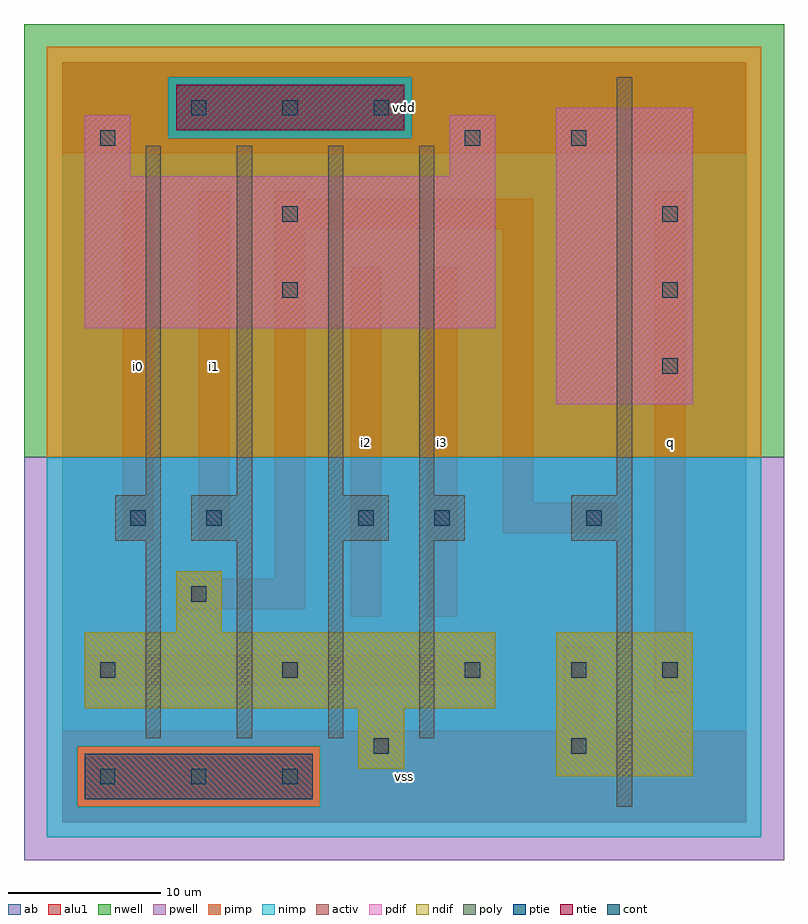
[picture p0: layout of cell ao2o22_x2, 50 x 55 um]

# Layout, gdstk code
import gdstk
lib = gdstk.Library(unit=1e-6, precision=1e-09)
def R(c, l, rs):  # rectangles x0, y0, x1, y1
    for r in rs: c.add(gdstk.rectangle(r[:2], r[2:], *l))
def A(c, l, x, y, w, h, nx, ny, dx, dy):  # array of equal rectangles
    R(c, l, [(x+i*dx, y+j*dy, x+i*dx+w, y+j*dy+h) for i in range(nx) for j in range(ny)])
ndif = (3, 0)
pdif = (4, 0)
ntie = (5, 0)
ptie = (6, 0)
cont = (25, 0)
pwell = (41, 0)
nwell = (42, 0)
activ = (43, 0)
pimp = (44, 0)
nimp = (45, 0)
poly = (46, 0)
alu1 = (49, 0)
ab = (63, 0)

ao2o22_x2 = lib.new_cell('ao2o22_x2')
R(ao2o22_x2, ndif, [(32.5,3,41.5,12.5), (19.5,3.5,22.5,7.5), (1.5,7.5,28.5,12.5), (7.5,12.5,10.5,16.5)])
R(ao2o22_x2, pdif, [(32.5,27.5,41.5,47), (1.5,32.5,28.5,42.5), (1.5,42.5,4.5,46.5), (25.5,42.5,28.5,46.5)])
R(ao2o22_x2, ntie, [(7.5,45.5,22.5,48.5)])
R(ao2o22_x2, ptie, [(1.5,1.5,16.5,4.5)])
A(ao2o22_x2, cont, 2.5, 2.5, 1, 1, 3, 1, 6, 0)
A(ao2o22_x2, cont, 2.5, 9.5, 1, 1, 3, 1, 12, 0)
A(ao2o22_x2, cont, 39.5, 29.5, 1, 1, 1, 3, 0, 5)
A(ao2o22_x2, cont, 8.5, 46.5, 1, 1, 3, 1, 6, 0)
R(ao2o22_x2, cont, [(20.5,4.5,21.5,5.5), (33.5,4.5,34.5,5.5), (33.5,9.5,34.5,10.5), (39.5,9.5,40.5,10.5), (8.5,14.5,9.5,15.5), (4.5,19.5,5.5,20.5), (9.5,19.5,10.5,20.5), (19.5,19.5,20.5,20.5), (24.5,19.5,25.5,20.5), (34.5,19.5,35.5,20.5), (14.5,34.5,15.5,35.5), (14.5,39.5,15.5,40.5), (2.5,44.5,3.5,45.5), (26.5,44.5,27.5,45.5), (33.5,44.5,34.5,45.5)])
R(ao2o22_x2, pwell, [(-2.5,-2.5,47.5,24)])
R(ao2o22_x2, nwell, [(-2.5,24,47.5,52.5)])
R(ao2o22_x2, activ, [(1.5,1.5,16.5,4.5), (32.5,3,41.5,12.5), (19.5,3.5,22.5,7.5), (1.5,7.5,28.5,12.5), (7.5,12.5,10.5,16.5), (32.5,27.5,41.5,47), (1.5,32.5,28.5,42.5), (1.5,42.5,4.5,46.5), (25.5,42.5,28.5,46.5), (7.5,45.5,22.5,48.5)])
R(ao2o22_x2, pimp, [(1,1,17,5), (-1,24,46,45), (-1,45,7,49), (23,45,46,49), (-1,49,46,51)])
R(ao2o22_x2, nimp, [(-1,-1,46,1), (-1,1,1,5), (17,1,46,5), (-1,5,46,24), (7,45,23,49)])
A(ao2o22_x2, poly, 5.5, 5.5, 1, 13, 4, 1, 6, 0)
A(ao2o22_x2, poly, 5.5, 21.5, 1, 23, 4, 1, 6, 0)
R(ao2o22_x2, poly, [(36.5,1,37.5,18.5), (3.5,18.5,6.5,21.5), (8.5,18.5,12.5,21.5), (17.5,18.5,21.5,21.5), (23.5,18.5,26.5,21.5), (33.5,18.5,37.5,21.5), (36.5,21.5,37.5,49)])
R(ao2o22_x2, alu1, [(0,0,45,6), (0,0,45,6), (33,6,35,11.5), (33,6,35,11.5), (39,8.5,41,41.5), (39,8.5,41,41.5), (1.5,9,28.5,11), (1.5,9,28.5,11), (19,13.5,21,36.5), (19,13.5,21,36.5), (24,13.5,26,36.5), (24,13.5,26,36.5), (7.5,14,16,16), (7.5,14,16,16), (14,16,16,39), (14,16,16,39), (4,18.5,6,41.5), (4,18.5,6,41.5), (9,18.5,11,41.5), (9,18.5,11,41.5), (29,19,36.5,21), (29,19,36.5,21), (29,21,31,39), (29,21,31,39), (14,39,31,41), (14,39,31,41), (14,41,16,41.5), (14,41,16,41.5), (0,44,45,50), (0,44,45,50)])
R(ao2o22_x2, ab, [(0,0,45,50)])
ao2o22_x2.add(gdstk.Label('i0', (5,30), layer=49, texttype=0))
ao2o22_x2.add(gdstk.Label('i2', (20,25), layer=49, texttype=0))
ao2o22_x2.add(gdstk.Label('i1', (10,30), layer=49, texttype=0))
ao2o22_x2.add(gdstk.Label('vss', (22.5,3), layer=49, texttype=0))
ao2o22_x2.add(gdstk.Label('i3', (25,25), layer=49, texttype=0))
ao2o22_x2.add(gdstk.Label('vdd', (22.5,47), layer=49, texttype=0))
ao2o22_x2.add(gdstk.Label('q', (40,25), layer=49, texttype=0))

lib.write_gds('ao2o22_x2.gds')
